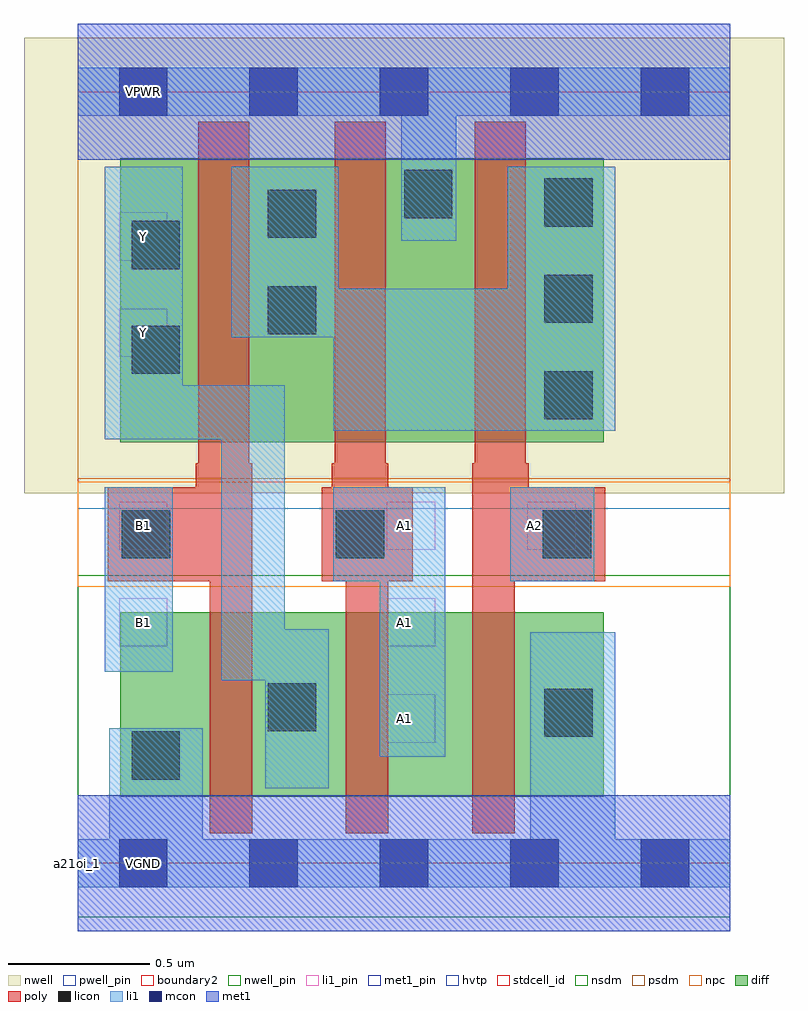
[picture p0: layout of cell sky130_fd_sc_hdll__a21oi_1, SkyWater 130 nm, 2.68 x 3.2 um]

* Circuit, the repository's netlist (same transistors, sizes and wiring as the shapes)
* Copyright 2020 The SkyWater PDK Authors
*
* Licensed under the Apache License, Version 2.0 (the "License");
* you may not use this file except in compliance with the License.
* You may obtain a copy of the License at
*
*     https://www.apache.org/licenses/LICENSE-2.0
*
* Unless required by applicable law or agreed to in writing, software
* distributed under the License is distributed on an "AS IS" BASIS,
* WITHOUT WARRANTIES OR CONDITIONS OF ANY KIND, either express or implied.
* See the License for the specific language governing permissions and
* limitations under the License.
*
* SPDX-License-Identifier: Apache-2.0

.SUBCKT sky130_fd_sc_hdll__a21oi_1 A1 A2 B1 VGND VNB VPB VPWR Y
*.PININFO A1:I A2:I B1:I VGND:I VNB:I VPB:I VPWR:I Y:O
MMPA0 pndA A1 VPWR VPB sky130_fd_pr__pfet_01v8_hvt m=1 w=1.0U l=0.18U mult=1 sa=0.265
+ sb=0.265 sd=0.28 area=0.063 perim=1.14
MMPA1 pndA A2 VPWR VPB sky130_fd_pr__pfet_01v8_hvt m=1 w=1.0U l=0.18U mult=1 sa=0.265
+ sb=0.265 sd=0.28 area=0.063 perim=1.14
MMPB0 Y B1 pndA VPB sky130_fd_pr__pfet_01v8_hvt m=1 w=1.0U l=0.18U mult=1 sa=0.265
+ sb=0.265 sd=0.28 area=0.063 perim=1.14
MMNA0 Y A1 sndA1 VNB sky130_fd_pr__nfet_01v8 m=1 w=0.65U l=0.15U mult=1 sa=0.265
+ sb=0.265 sd=0.28 area=0.063 perim=1.14
MMNA1 sndA1 A2 VGND VNB sky130_fd_pr__nfet_01v8 m=1 w=0.65U l=0.15U mult=1 sa=0.265
+ sb=0.265 sd=0.28 area=0.063 perim=1.14
MMNB0 Y B1 VGND VNB sky130_fd_pr__nfet_01v8 m=1 w=0.65U l=0.15U mult=1 sa=0.265
+ sb=0.265 sd=0.28 area=0.063 perim=1.14
.ENDS sky130_fd_sc_hdll__a21oi_1

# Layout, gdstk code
import gdstk
lib = gdstk.Library(unit=1e-6, precision=1e-09)
def R(c, l, rs):  # rectangles x0, y0, x1, y1
    for r in rs: c.add(gdstk.rectangle(r[:2], r[2:], *l))
def A(c, l, x, y, w, h, nx, ny, dx, dy):  # array of equal rectangles
    R(c, l, [(x+i*dx, y+j*dy, x+i*dx+w, y+j*dy+h) for i in range(nx) for j in range(ny)])
def P(c, l, *ps):  # polygons
    for p in ps: c.add(gdstk.Polygon(p, *l))
nwell_pin = (64, 16)
nwell = (64, 20)
diff = (65, 20)
poly = (66, 20)
licon = (66, 44)
li1_pin = (67, 16)
li1 = (67, 20)
mcon = (67, 44)
met1_pin = (68, 16)
met1 = (68, 20)
hvtp = (78, 44)
stdcell_id = (81, 4)
nsdm = (93, 44)
psdm = (94, 20)
npc = (95, 20)
pwell_pin = (122, 16)
boundary2 = (236, 0)

sky130_fd_sc_hdll__a21oi = lib.new_cell('sky130_fd_sc_hdll__a21oi_1')
R(sky130_fd_sc_hdll__a21oi, nwell_pin, [(0.145,2.635,0.315,2.805)])
R(sky130_fd_sc_hdll__a21oi, nwell, [(-0.19,1.305,2.49,2.91)])
R(sky130_fd_sc_hdll__a21oi, diff, [(0.15,0.235,1.855,0.885), (0.15,1.485,1.855,2.485)])
P(sky130_fd_sc_hdll__a21oi, poly, [(0.615,1.41),(0.605,1.41),(0.605,2.615),(0.425,2.615),(0.425,1.41),(0.415,1.41),(0.415,1.325),(0.105,1.325),(0.105,0.995),(0.465,0.995),(0.465,0.105),(0.615,0.105)],
  [(1.18,1.325),(1.095,1.325),(1.095,1.41),(1.085,1.41),(1.085,2.615),(0.905,2.615),(0.905,1.41),(0.895,1.41),(0.895,1.325),(0.86,1.325),(0.86,0.995),(0.945,0.995),(0.945,0.105),(1.095,0.105),(1.095,0.995),(1.18,0.995)],
  [(1.86,1.325),(1.59,1.325),(1.59,1.41),(1.58,1.41),(1.58,2.615),(1.4,2.615),(1.4,1.41),(1.39,1.41),(1.39,0.105),(1.54,0.105),(1.54,0.995),(1.86,0.995)])
A(sky130_fd_sc_hdll__a21oi, licon, 1.645, 1.565, 0.17, 0.17, 1, 3, 0, 0.34)
R(sky130_fd_sc_hdll__a21oi, licon, [(0.19,0.295,0.36,0.465), (1.645,0.445,1.815,0.615), (0.67,0.465,0.84,0.635), (0.155,1.075,0.325,1.245), (0.91,1.075,1.08,1.245), (1.64,1.075,1.81,1.245), (0.19,1.725,0.36,1.895), (0.67,1.865,0.84,2.035), (0.19,2.095,0.36,2.265), (0.67,2.205,0.84,2.375), (1.15,2.275,1.32,2.445)])
A(sky130_fd_sc_hdll__a21oi, li1_pin, 1.09, 0.425, 0.17, 0.17, 1, 3, 0, 0.34)
R(sky130_fd_sc_hdll__a21oi, li1_pin, [(0.145,0.765,0.315,0.935), (0.145,1.105,0.315,1.275), (1.585,1.105,1.755,1.275), (0.145,1.785,0.315,1.955), (0.145,2.125,0.315,2.295)])
R(sky130_fd_sc_hdll__a21oi, li1, [(0.095,0.675,0.335,1.325), (1.525,0.995,1.82,1.325)])
P(sky130_fd_sc_hdll__a21oi, li1, [(2.3,2.805),(0,2.805),(0,2.635),(1.14,2.635),(1.14,2.195),(1.335,2.195),(1.335,2.635),(2.3,2.635)],
  [(2.3,0.085),(1.895,0.085),(1.895,0.815),(1.595,0.815),(1.595,0.085),(0.44,0.085),(0.44,0.475),(0.11,0.475),(0.11,0.085),(0,0.085),(0,-0.085),(2.3,-0.085)],
  [(1.295,1.325),(0.9,1.325),(0.9,0.995),(1.065,0.995),(1.065,0.375),(1.295,0.375)],
  [(1.895,2.455),(1.515,2.455),(1.515,2.025),(0.92,2.025),(0.92,2.455),(0.54,2.455),(0.54,1.855),(0.9,1.855),(0.9,1.525),(1.895,1.525)],
  [(0.885,0.825),(0.73,0.825),(0.73,1.685),(0.37,1.685),(0.37,2.455),(0.095,2.455),(0.095,1.495),(0.505,1.495),(0.505,0.645),(0.66,0.645),(0.66,0.265),(0.885,0.265)])
A(sky130_fd_sc_hdll__a21oi, mcon, 0.145, -0.085, 0.17, 0.17, 5, 2, 0.46, 2.72)
R(sky130_fd_sc_hdll__a21oi, met1_pin, [(0.145,-0.085,0.315,0.085), (0.145,2.635,0.315,2.805)])
R(sky130_fd_sc_hdll__a21oi, met1, [(0,-0.24,2.3,0.24), (0,2.48,2.3,2.96)])
R(sky130_fd_sc_hdll__a21oi, hvtp, [(0,1.25,2.3,2.72)])
R(sky130_fd_sc_hdll__a21oi, stdcell_id, [(0,0,2.3,2.72)])
R(sky130_fd_sc_hdll__a21oi, nsdm, [(0,-0.19,2.3,1.015)])
R(sky130_fd_sc_hdll__a21oi, psdm, [(0,1.355,2.3,2.91)])
R(sky130_fd_sc_hdll__a21oi, npc, [(0,0.975,2.3,1.345)])
R(sky130_fd_sc_hdll__a21oi, pwell_pin, [(0.145,-0.085,0.315,0.085)])
R(sky130_fd_sc_hdll__a21oi, boundary2, [(0,0,2.3,2.72)])
sky130_fd_sc_hdll__a21oi.add(gdstk.Label('A1', (1.15,1.19), layer=67, texttype=5))
sky130_fd_sc_hdll__a21oi.add(gdstk.Label('B1', (0.23,0.85), layer=67, texttype=5))
sky130_fd_sc_hdll__a21oi.add(gdstk.Label('A1', (1.15,0.85), layer=67, texttype=5))
sky130_fd_sc_hdll__a21oi.add(gdstk.Label('A1', (1.15,0.51), layer=67, texttype=5))
sky130_fd_sc_hdll__a21oi.add(gdstk.Label('Y', (0.23,2.21), layer=67, texttype=5))
sky130_fd_sc_hdll__a21oi.add(gdstk.Label('B1', (0.23,1.19), layer=67, texttype=5))
sky130_fd_sc_hdll__a21oi.add(gdstk.Label('Y', (0.23,1.87), layer=67, texttype=5))
sky130_fd_sc_hdll__a21oi.add(gdstk.Label('A2', (1.61,1.19), layer=67, texttype=5))
sky130_fd_sc_hdll__a21oi.add(gdstk.Label('VPWR', (0.23,2.72), layer=68, texttype=5))
sky130_fd_sc_hdll__a21oi.add(gdstk.Label('VGND', (0.23,0), layer=68, texttype=5))
sky130_fd_sc_hdll__a21oi.add(gdstk.Label('VPB', (0.23,2.72), layer=64, texttype=5))
sky130_fd_sc_hdll__a21oi.add(gdstk.Label('VNB', (0.23,0), layer=64, texttype=59))
sky130_fd_sc_hdll__a21oi.add(gdstk.Label('a21oi_1', (0,0), layer=83, texttype=44))

lib.write_gds('sky130_fd_sc_hdll__a21oi_1.gds')
